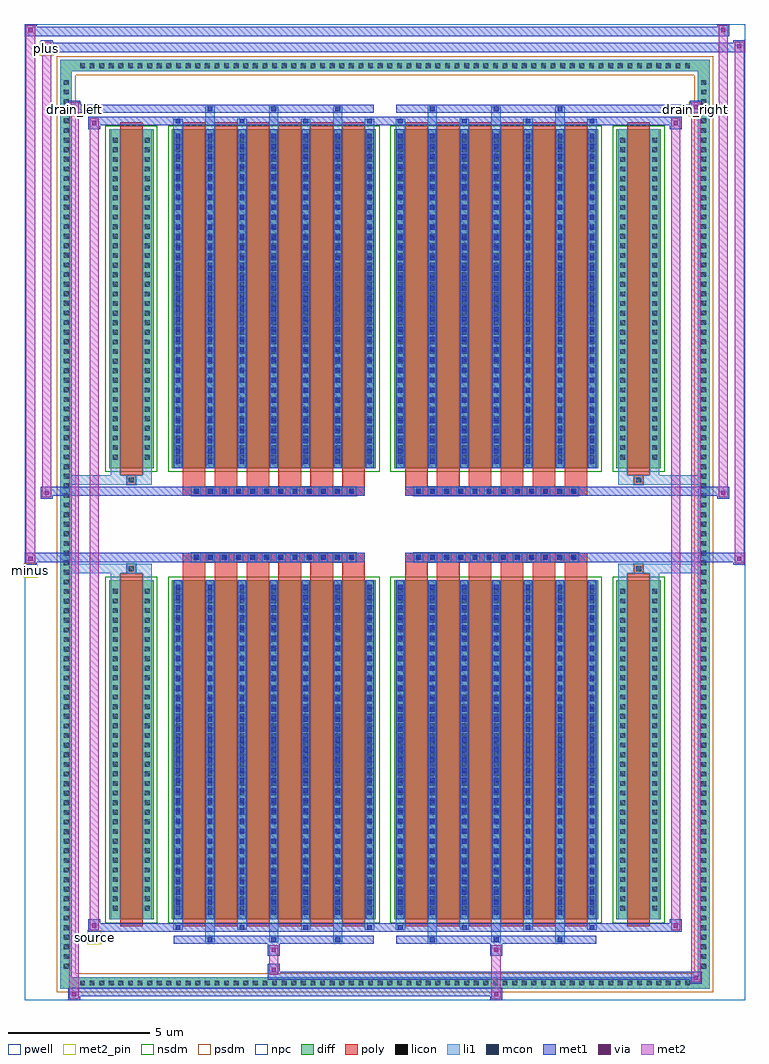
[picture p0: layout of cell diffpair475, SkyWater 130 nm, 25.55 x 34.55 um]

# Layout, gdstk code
import gdstk
lib = gdstk.Library(unit=1e-6, precision=5e-09)
def R(c, l, rs):  # rectangles x0, y0, x1, y1
    for r in rs: c.add(gdstk.rectangle(r[:2], r[2:], *l))
def A(c, l, x, y, w, h, nx, ny, dx, dy):  # array of equal rectangles
    R(c, l, [(x+i*dx, y+j*dy, x+i*dx+w, y+j*dy+h) for i in range(nx) for j in range(ny)])
def P(c, l, *ps):  # polygons
    for p in ps: c.add(gdstk.Polygon(p, *l))
pwell = (64, 44)
diff = (65, 20)
poly = (66, 20)
licon = (66, 44)
li1 = (67, 20)
mcon = (67, 44)
met1 = (68, 20)
via = (68, 44)
met2_pin = (69, 16)
met2 = (69, 20)
nsdm = (93, 44)
psdm = (94, 20)
npc = (95, 20)

diffpair475 = lib.new_cell('diffpair475')
R(diffpair475, pwell, [(-12.76,-16.84,12.76,17.71), (-10.08,-15.03,-0.01,-0.805), (0.01,-15.03,10.08,-0.805), (-10.08,0.805,-0.01,15.03), (0.01,0.805,10.08,15.03)])
A(diffpair475, diff, -10.915, -16.44, 0.41, 0.41, 64, 2, 0.34, 32.47)
A(diffpair475, diff, -11.49, -15.845, 0.41, 0.41, 1, 93, 0, 0.34)
A(diffpair475, diff, 11.08, -15.845, 0.41, 0.41, 1, 93, 0, 0.34)
R(diffpair475, diff, [(-10.915,-16.44,10.915,-16.03), (-11.49,-15.845,-11.08,15.845), (11.08,-15.845,11.49,15.845), (-9.77,-13.985,-8.19,-1.985), (-7.55,-13.985,-0.32,-1.985), (0.32,-13.985,7.55,-1.985), (8.19,-13.985,9.77,-1.985), (-9.77,1.985,-8.19,13.985), (-7.55,1.985,-0.32,13.985), (0.32,1.985,7.55,13.985), (8.19,1.985,9.77,13.985), (-10.915,16.03,10.915,16.44)])
P(diffpair475, diff, [(11.49,16.44),(-11.49,16.44),(-11.49,-16.03),(-11.08,-16.03),(-11.08,16.03),(11.08,16.03),(11.08,-16.03),(-11.08,-16.03),(-11.49,-16.03),(-11.49,-16.44),(11.49,-16.44)])
A(diffpair475, poly, -7.16, -14.235, 0.8, 12.5, 6, 2, 1.13, 15.97)
A(diffpair475, poly, 0.71, -14.235, 0.8, 12.5, 6, 2, 1.13, 15.97)
A(diffpair475, poly, -7.16, -1.735, 0.8, 0.4, 6, 2, 1.13, 3.07)
A(diffpair475, poly, 0.71, -1.735, 0.8, 0.4, 6, 2, 1.13, 3.07)
A(diffpair475, poly, -6.85, -1.335, 0.33, 0.33, 12, 2, 0.5, 2.34)
A(diffpair475, poly, 1.02, -1.335, 0.33, 0.33, 12, 2, 0.5, 2.34)
R(diffpair475, poly, [(-9.38,-14.235,-8.58,-1.735), (8.58,-14.235,9.38,-1.735), (-9.145,-1.735,-8.815,-1.405), (-9.145,-1.735,-8.815,-1.405), (8.815,-1.735,9.145,-1.405), (8.815,-1.735,9.145,-1.405), (-7.16,-1.335,-0.71,-1.005), (0.71,-1.335,7.16,-1.005), (-7.16,1.005,-0.71,1.335), (0.71,1.005,7.16,1.335), (-9.145,1.405,-8.815,1.735), (-9.145,1.405,-8.815,1.735), (8.815,1.405,9.145,1.735), (8.815,1.405,9.145,1.735), (-9.38,1.735,-8.58,14.235), (8.58,1.735,9.38,14.235)])
A(diffpair475, licon, -10.795, -16.32, 0.17, 0.17, 64, 2, 0.34, 32.47)
A(diffpair475, licon, -11.37, -15.725, 0.17, 0.17, 1, 93, 0, 0.34)
A(diffpair475, licon, 11.2, -15.725, 0.17, 0.17, 1, 93, 0, 0.34)
A(diffpair475, licon, -9.63, -13.68, 0.17, 0.17, 1, 34, 0, 0.34)
A(diffpair475, licon, -8.5, -13.68, 0.17, 0.17, 1, 34, 0, 0.34)
A(diffpair475, licon, -7.41, -13.68, 0.17, 0.17, 7, 34, 1.13, 0.34)
A(diffpair475, licon, 0.46, -13.68, 0.17, 0.17, 7, 34, 1.13, 0.34)
A(diffpair475, licon, 8.33, -13.68, 0.17, 0.17, 1, 34, 0, 0.34)
A(diffpair475, licon, 9.46, -13.68, 0.17, 0.17, 1, 34, 0, 0.34)
A(diffpair475, licon, -6.77, -1.255, 0.17, 0.17, 12, 2, 0.5, 2.34)
A(diffpair475, licon, 1.1, -1.255, 0.17, 0.17, 12, 2, 0.5, 2.34)
A(diffpair475, licon, -9.63, 2.29, 0.17, 0.17, 1, 34, 0, 0.34)
A(diffpair475, licon, -8.5, 2.29, 0.17, 0.17, 1, 34, 0, 0.34)
A(diffpair475, licon, -7.41, 2.29, 0.17, 0.17, 7, 34, 1.13, 0.34)
A(diffpair475, licon, 0.46, 2.29, 0.17, 0.17, 7, 34, 1.13, 0.34)
A(diffpair475, licon, 8.33, 2.29, 0.17, 0.17, 1, 34, 0, 0.34)
A(diffpair475, licon, 9.46, 2.29, 0.17, 0.17, 1, 34, 0, 0.34)
R(diffpair475, licon, [(-9.065,-1.655,-8.895,-1.485), (8.895,-1.655,9.065,-1.485), (-9.065,1.485,-8.895,1.655), (8.895,1.485,9.065,1.655)])
A(diffpair475, li1, -10.875, -16.4, 0.33, 0.33, 64, 2, 0.34, 32.47)
A(diffpair475, li1, -11.45, -15.805, 0.33, 0.33, 1, 93, 0, 0.34)
A(diffpair475, li1, 11.12, -15.805, 0.33, 0.33, 1, 93, 0, 0.34)
A(diffpair475, li1, -6.36, -14.79, 0.33, 0.805, 3, 2, 2.26, 28.775)
A(diffpair475, li1, -6.28, -14.79, 0.17, 0.17, 3, 2, 2.26, 29.41)
A(diffpair475, li1, 1.51, -14.79, 0.33, 0.805, 3, 2, 2.26, 28.775)
A(diffpair475, li1, 1.59, -14.79, 0.17, 0.17, 3, 2, 2.26, 29.41)
A(diffpair475, li1, -7.49, -14.36, 0.33, 0.375, 4, 2, 2.26, 28.345)
A(diffpair475, li1, -7.41, -14.36, 0.17, 0.17, 4, 2, 2.26, 28.55)
A(diffpair475, li1, 0.38, -14.36, 0.33, 0.375, 4, 2, 2.26, 28.345)
A(diffpair475, li1, 0.46, -14.36, 0.17, 0.17, 4, 2, 2.26, 28.55)
A(diffpair475, li1, -7.49, -13.985, 0.33, 12, 7, 2, 1.13, 15.97)
A(diffpair475, li1, 0.38, -13.985, 0.33, 12, 7, 2, 1.13, 15.97)
A(diffpair475, li1, -7.41, -13.83, 0.17, 0.17, 7, 33, 1.13, 0.36)
A(diffpair475, li1, -7.41, -13.83, 0.17, 11.69, 7, 2, 1.13, 15.97)
A(diffpair475, li1, 0.46, -13.83, 0.17, 0.17, 7, 33, 1.13, 0.36)
A(diffpair475, li1, 0.46, -13.83, 0.17, 11.69, 7, 2, 1.13, 15.97)
A(diffpair475, li1, -9.71, -13.76, 0.33, 0.33, 1, 34, 0, 0.34)
A(diffpair475, li1, -8.58, -13.76, 0.33, 0.33, 1, 34, 0, 0.34)
A(diffpair475, li1, -7.49, -13.76, 0.33, 0.33, 7, 34, 1.13, 0.34)
A(diffpair475, li1, 0.38, -13.76, 0.33, 0.33, 7, 34, 1.13, 0.34)
A(diffpair475, li1, 8.25, -13.76, 0.33, 0.33, 1, 34, 0, 0.34)
A(diffpair475, li1, 9.38, -13.76, 0.33, 0.33, 1, 34, 0, 0.34)
A(diffpair475, li1, -6.85, -1.335, 0.33, 0.33, 12, 2, 0.5, 2.34)
A(diffpair475, li1, 1.02, -1.335, 0.33, 0.33, 12, 2, 0.5, 2.34)
A(diffpair475, li1, -7.41, 2.14, 0.17, 0.17, 7, 33, 1.13, 0.36)
A(diffpair475, li1, 0.46, 2.14, 0.17, 0.17, 7, 33, 1.13, 0.36)
A(diffpair475, li1, -9.71, 2.21, 0.33, 0.33, 1, 34, 0, 0.34)
A(diffpair475, li1, -8.58, 2.21, 0.33, 0.33, 1, 34, 0, 0.34)
A(diffpair475, li1, -7.49, 2.21, 0.33, 0.33, 7, 34, 1.13, 0.34)
A(diffpair475, li1, 0.38, 2.21, 0.33, 0.33, 7, 34, 1.13, 0.34)
A(diffpair475, li1, 8.25, 2.21, 0.33, 0.33, 1, 34, 0, 0.34)
A(diffpair475, li1, 9.38, 2.21, 0.33, 0.33, 1, 34, 0, 0.34)
R(diffpair475, li1, [(-11.49,-16.44,-11.08,-16.03), (-11.49,-16.44,-11.08,-16.03), (-11.08,-16.44,11.08,-16.03), (11.08,-16.44,11.49,-16.03), (11.08,-16.44,11.49,-16.03), (-11.49,-16.03,-11.08,16.03), (11.08,-16.03,11.49,16.03), (-9.71,-13.985,-9.38,-1.985), (-8.58,-13.985,-8.25,-1.985), (8.25,-13.985,8.58,-1.985), (9.38,-13.985,9.71,-1.985), (-9.71,-1.985,-9.38,-1.405), (-8.58,-1.985,-8.25,-1.405), (8.25,-1.985,8.58,-1.405), (9.38,-1.985,9.71,-1.405), (-11.49,-1.735,-9.145,-1.405), (-9.71,-1.735,-9.145,-1.405), (-9.145,-1.735,-8.815,-1.405), (-8.815,-1.735,-8.25,-1.405), (8.25,-1.735,8.815,-1.405), (8.815,-1.735,9.145,-1.405), (8.815,-1.735,11.49,-1.405), (9.145,-1.735,9.71,-1.405), (-11.49,1.405,-9.145,1.735), (-9.71,1.405,-9.145,1.735), (-9.71,1.405,-9.38,1.985), (-9.145,1.405,-8.815,1.735), (-8.815,1.405,-8.25,1.735), (-8.58,1.405,-8.25,1.985), (8.25,1.405,8.815,1.735), (8.25,1.405,8.58,1.985), (8.815,1.405,9.145,1.735), (8.815,1.405,11.49,1.735), (9.145,1.405,9.71,1.735), (9.38,1.405,9.71,1.985), (-9.71,1.985,-9.38,13.985), (-8.58,1.985,-8.25,13.985), (8.25,1.985,8.58,13.985), (9.38,1.985,9.71,13.985), (-11.49,16.03,-11.08,16.44), (-11.49,16.03,-11.08,16.44), (-11.08,16.03,11.08,16.44), (11.08,16.03,11.49,16.44), (11.08,16.03,11.49,16.44)])
A(diffpair475, mcon, -6.28, -14.79, 0.17, 0.17, 3, 2, 2.26, 29.41)
A(diffpair475, mcon, 1.59, -14.79, 0.17, 0.17, 3, 2, 2.26, 29.41)
A(diffpair475, mcon, -7.41, -14.36, 0.17, 0.17, 4, 2, 2.26, 28.55)
A(diffpair475, mcon, 0.46, -14.36, 0.17, 0.17, 4, 2, 2.26, 28.55)
A(diffpair475, mcon, -7.41, -13.83, 0.17, 0.17, 7, 33, 1.13, 0.36)
A(diffpair475, mcon, 0.46, -13.83, 0.17, 0.17, 7, 33, 1.13, 0.36)
A(diffpair475, mcon, -6.77, -1.255, 0.17, 0.17, 12, 2, 0.5, 2.34)
A(diffpair475, mcon, 1.1, -1.255, 0.17, 0.17, 12, 2, 0.5, 2.34)
A(diffpair475, mcon, -7.41, 2.14, 0.17, 0.17, 7, 33, 1.13, 0.36)
A(diffpair475, mcon, 0.46, 2.14, 0.17, 0.17, 7, 33, 1.13, 0.36)
A(diffpair475, met1, -6.34, -14.85, 0.29, 0.29, 3, 2, 2.26, 29.41)
A(diffpair475, met1, 1.53, -14.85, 0.29, 0.29, 3, 2, 2.26, 29.41)
A(diffpair475, met1, -7.47, -14.42, 0.29, 0.29, 4, 2, 2.26, 28.55)
A(diffpair475, met1, 0.4, -14.42, 0.29, 0.29, 4, 2, 2.26, 28.55)
A(diffpair475, met1, -7.47, -13.985, 0.29, 12, 7, 2, 1.13, 15.97)
A(diffpair475, met1, 0.4, -13.985, 0.29, 12, 7, 2, 1.13, 15.97)
A(diffpair475, met1, -7.47, -13.89, 0.29, 0.29, 7, 33, 1.13, 0.36)
A(diffpair475, met1, 0.4, -13.89, 0.29, 0.29, 7, 33, 1.13, 0.36)
A(diffpair475, met1, -6.83, -1.315, 0.29, 0.29, 12, 2, 0.5, 2.34)
A(diffpair475, met1, 1.04, -1.315, 0.29, 0.29, 12, 2, 0.5, 2.34)
A(diffpair475, met1, -7.47, 2.08, 0.29, 0.29, 7, 33, 1.13, 0.36)
A(diffpair475, met1, 0.4, 2.08, 0.29, 0.29, 7, 33, 1.13, 0.36)
R(diffpair475, met1, [(-11.22,-16.84,-10.79,-16.41), (3.72,-16.84,4.15,-16.41), (-11.22,-16.7,4.15,-16.41), (10.79,-16.27,11.22,-15.84), (-4.15,-16.13,11.22,-15.84), (-4.15,-15.99,-3.72,-15.56), (-4.15,-15.28,-3.72,-14.85), (3.72,-15.28,4.15,-14.85), (-7.47,-14.85,-0.4,-14.56), (0.4,-14.85,7.47,-14.56), (-10.51,-14.42,-10.08,-13.99), (-10.51,-14.42,-7.47,-14.13), (-7.47,-14.42,-0.4,-14.13), (-0.4,-14.42,0.4,-14.13), (0.4,-14.42,7.47,-14.13), (7.47,-14.42,10.51,-14.13), (10.08,-14.42,10.51,-13.99), (-12.76,-1.435,-12.33,-1.005), (12.33,-1.435,12.76,-1.005), (-12.76,-1.335,-0.71,-1.005), (-7.16,-1.335,-0.71,-1.005), (0.71,-1.335,7.16,-1.005), (0.71,-1.335,12.76,-1.005), (-12.19,0.905,-11.76,1.335), (11.76,0.905,12.19,1.335), (-12.19,1.005,-7.16,1.335), (-7.16,1.005,-0.71,1.335), (0.71,1.005,7.16,1.335), (7.16,1.005,12.19,1.335), (-10.51,13.99,-10.08,14.42), (10.08,13.99,10.51,14.42), (-10.51,14.13,-7.47,14.42), (-7.47,14.13,-0.4,14.42), (-0.4,14.13,0.4,14.42), (0.4,14.13,7.47,14.42), (7.47,14.13,10.51,14.42), (-11.22,14.56,-10.79,14.99), (-11.22,14.56,-7.47,14.85), (-7.47,14.56,-0.4,14.85), (0.4,14.56,7.47,14.85), (7.47,14.56,11.22,14.85), (10.79,14.56,11.22,14.99), (-12.19,16.71,-11.76,17.14), (-12.19,16.71,-10.08,17.04), (-10.08,16.71,10.08,17.04), (10.08,16.71,12.76,17.04), (12.33,16.71,12.76,17.14), (-12.76,17.28,-12.33,17.71), (-12.76,17.28,-10.08,17.61), (-10.08,17.28,10.08,17.61), (10.08,17.28,12.19,17.61), (11.76,17.28,12.19,17.71)])
R(diffpair475, via, [(-11.08,-16.7,-10.93,-16.55), (3.86,-16.7,4.01,-16.55), (10.93,-16.13,11.08,-15.98), (-4.01,-15.85,-3.86,-15.7), (-4.01,-15.14,-3.86,-14.99), (3.86,-15.14,4.01,-14.99), (-10.37,-14.28,-10.22,-14.13), (10.22,-14.28,10.37,-14.13), (-12.62,-1.295,-12.47,-1.145), (12.47,-1.295,12.62,-1.145), (-12.05,1.045,-11.9,1.195), (11.9,1.045,12.05,1.195), (-10.37,14.13,-10.22,14.28), (10.22,14.13,10.37,14.28), (-11.08,14.7,-10.93,14.85), (10.93,14.7,11.08,14.85), (-12.05,16.85,-11.9,17), (12.47,16.85,12.62,17), (-12.62,17.42,-12.47,17.57), (11.9,17.42,12.05,17.57)])
R(diffpair475, met2_pin, [(-10.545,-14.87,-10.045,-14.37), (-12.795,-1.885,-12.295,-1.385), (-11.255,14.44,-10.755,14.94), (10.755,14.44,11.255,14.94), (-12.225,16.59,-11.725,17.09)])
R(diffpair475, met2, [(-11.17,-16.79,-10.84,-16.46), (-11.17,-16.79,-10.84,14.94), (3.77,-16.79,4.1,-16.46), (3.77,-16.46,4.1,-15.23), (10.84,-16.22,11.17,-15.89), (10.84,-16.22,11.17,14.94), (-4.1,-15.94,-3.77,-15.61), (-4.1,-15.61,-3.77,-15.23), (-4.1,-15.23,-3.77,-14.9), (3.77,-15.23,4.1,-14.9), (-10.46,-14.37,-10.13,-14.04), (-10.46,-14.37,-10.13,14.37), (10.13,-14.37,10.46,-14.04), (10.13,-14.37,10.46,14.37), (-12.71,-1.385,-12.38,-1.055), (-12.71,-1.385,-12.38,17.66), (12.38,-1.385,12.71,-1.055), (12.38,-1.385,12.71,17.09), (-12.14,0.955,-11.81,1.285), (-12.14,0.955,-11.81,17.09), (11.81,0.955,12.14,1.285), (11.81,0.955,12.14,17.66), (-10.46,14.04,-10.13,14.37), (10.13,14.04,10.46,14.37), (-11.17,14.61,-10.84,14.94), (10.84,14.61,11.17,14.94), (-12.14,16.76,-11.81,17.09), (12.38,16.76,12.71,17.09), (-12.71,17.33,-12.38,17.66), (11.81,17.33,12.14,17.66)])
P(diffpair475, met2, [(12.71,-1.385),(12.71,-1.385),(12.71,-1.055),(12.71,-1.055)],
  [(12.71,16.76),(12.71,16.76),(12.71,17.09),(12.71,17.09)],
  [(-12.38,-1.385),(-12.38,-1.385),(-12.38,-1.055),(-12.38,-1.055)],
  [(-12.38,17.33),(-12.38,17.33),(-12.38,17.66),(-12.38,17.66)],
  [(12.14,0.955),(12.14,0.955),(12.14,1.285),(12.14,1.285)],
  [(12.14,17.33),(12.14,17.33),(12.14,17.66),(12.14,17.66)],
  [(-11.81,0.955),(-11.81,0.955),(-11.81,1.285),(-11.81,1.285)],
  [(-11.81,16.76),(-11.81,16.76),(-11.81,17.09),(-11.81,17.09)],
  [(-10.84,-16.79),(-10.84,-16.79),(-10.84,-16.46),(-10.84,-16.46)],
  [(-10.84,14.61),(-10.84,14.61),(-10.84,14.94),(-10.84,14.94)],
  [(11.17,-16.22),(11.17,-16.22),(11.17,-15.89),(11.17,-15.89)],
  [(11.17,14.61),(11.17,14.61),(11.17,14.94),(11.17,14.94)],
  [(-10.13,-14.37),(-10.13,-14.37),(-10.13,-14.04),(-10.13,-14.04)],
  [(-10.13,14.04),(-10.13,14.04),(-10.13,14.37),(-10.13,14.37)],
  [(10.46,-14.37),(10.46,-14.37),(10.46,-14.04),(10.46,-14.04)],
  [(10.46,14.04),(10.46,14.04),(10.46,14.37),(10.46,14.37)])
R(diffpair475, nsdm, [(-9.9,-14.115,-8.06,-1.855), (-7.68,-14.115,-0.19,-1.855), (0.19,-14.115,7.68,-1.855), (8.06,-14.115,9.9,-1.855), (-9.9,1.855,-8.06,14.115), (-7.68,1.855,-0.19,14.115), (0.19,1.855,7.68,14.115), (8.06,1.855,9.9,14.115)])
P(diffpair475, psdm, [(11.62,16.57),(-11.62,16.57),(-11.62,-15.9),(-10.95,-15.9),(-10.95,15.9),(10.95,15.9),(10.95,-15.9),(-10.95,-15.9),(-11.62,-15.9),(-11.62,-16.57),(11.62,-16.57)])
A(diffpair475, npc, -6.87, -1.355, 0.37, 0.37, 12, 2, 0.5, 2.34)
A(diffpair475, npc, 1, -1.355, 0.37, 0.37, 12, 2, 0.5, 2.34)
R(diffpair475, npc, [(-9.165,-1.755,-8.795,-1.385), (8.795,-1.755,9.165,-1.385), (-6.87,-1.355,-6,-0.985), (-6.87,-1.355,-6,-0.985), (-6.37,-1.355,-5.5,-0.985), (-6.37,-1.355,-5.5,-0.985), (-5.87,-1.355,-5,-0.985), (-5.87,-1.355,-5,-0.985), (-5.37,-1.355,-4.5,-0.985), (-5.37,-1.355,-4.5,-0.985), (-4.87,-1.355,-4,-0.985), (-4.87,-1.355,-4,-0.985), (-4.37,-1.355,-3.5,-0.985), (-4.37,-1.355,-3.5,-0.985), (-3.87,-1.355,-3,-0.985), (-3.87,-1.355,-3,-0.985), (-3.37,-1.355,-2.5,-0.985), (-3.37,-1.355,-2.5,-0.985), (-2.87,-1.355,-2,-0.985), (-2.87,-1.355,-2,-0.985), (-2.37,-1.355,-1.5,-0.985), (-2.37,-1.355,-1.5,-0.985), (-1.87,-1.355,-1,-0.985), (-1.87,-1.355,-1,-0.985), (1,-1.355,1.87,-0.985), (1,-1.355,1.87,-0.985), (1.5,-1.355,2.37,-0.985), (1.5,-1.355,2.37,-0.985), (2,-1.355,2.87,-0.985), (2,-1.355,2.87,-0.985), (2.5,-1.355,3.37,-0.985), (2.5,-1.355,3.37,-0.985), (3,-1.355,3.87,-0.985), (3,-1.355,3.87,-0.985), (3.5,-1.355,4.37,-0.985), (3.5,-1.355,4.37,-0.985), (4,-1.355,4.87,-0.985), (4,-1.355,4.87,-0.985), (4.5,-1.355,5.37,-0.985), (4.5,-1.355,5.37,-0.985), (5,-1.355,5.87,-0.985), (5,-1.355,5.87,-0.985), (5.5,-1.355,6.37,-0.985), (5.5,-1.355,6.37,-0.985), (6,-1.355,6.87,-0.985), (6,-1.355,6.87,-0.985), (-6.87,0.985,-6,1.355), (-6.87,0.985,-6,1.355), (-6.37,0.985,-5.5,1.355), (-6.37,0.985,-5.5,1.355), (-5.87,0.985,-5,1.355), (-5.87,0.985,-5,1.355), (-5.37,0.985,-4.5,1.355), (-5.37,0.985,-4.5,1.355), (-4.87,0.985,-4,1.355), (-4.87,0.985,-4,1.355), (-4.37,0.985,-3.5,1.355), (-4.37,0.985,-3.5,1.355), (-3.87,0.985,-3,1.355), (-3.87,0.985,-3,1.355), (-3.37,0.985,-2.5,1.355), (-3.37,0.985,-2.5,1.355), (-2.87,0.985,-2,1.355), (-2.87,0.985,-2,1.355), (-2.37,0.985,-1.5,1.355), (-2.37,0.985,-1.5,1.355), (-1.87,0.985,-1,1.355), (-1.87,0.985,-1,1.355), (1,0.985,1.87,1.355), (1,0.985,1.87,1.355), (1.5,0.985,2.37,1.355), (1.5,0.985,2.37,1.355), (2,0.985,2.87,1.355), (2,0.985,2.87,1.355), (2.5,0.985,3.37,1.355), (2.5,0.985,3.37,1.355), (3,0.985,3.87,1.355), (3,0.985,3.87,1.355), (3.5,0.985,4.37,1.355), (3.5,0.985,4.37,1.355), (4,0.985,4.87,1.355), (4,0.985,4.87,1.355), (4.5,0.985,5.37,1.355), (4.5,0.985,5.37,1.355), (5,0.985,5.87,1.355), (5,0.985,5.87,1.355), (5.5,0.985,6.37,1.355), (5.5,0.985,6.37,1.355), (6,0.985,6.87,1.355), (6,0.985,6.87,1.355), (-9.165,1.385,-8.795,1.755), (8.795,1.385,9.165,1.755)])
diffpair475.add(gdstk.Label('minus', (-12.545,-1.635), layer=69, texttype=5))
diffpair475.add(gdstk.Label('drain_right', (11.005,14.69), layer=69, texttype=5))
diffpair475.add(gdstk.Label('drain_left', (-11.005,14.69), layer=69, texttype=5))
diffpair475.add(gdstk.Label('source', (-10.295,-14.62), layer=69, texttype=5))
diffpair475.add(gdstk.Label('plus', (-11.975,16.84), layer=69, texttype=5))

lib.write_gds('diffpair475.gds')
